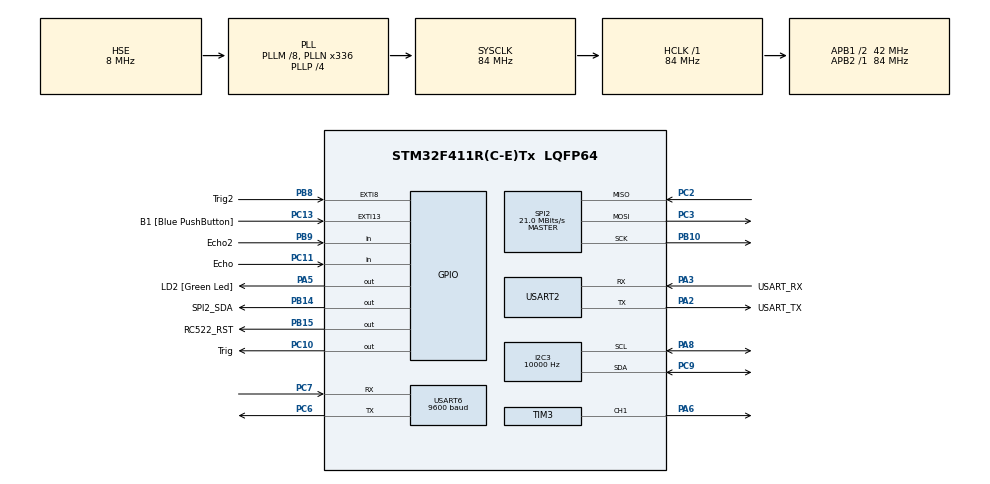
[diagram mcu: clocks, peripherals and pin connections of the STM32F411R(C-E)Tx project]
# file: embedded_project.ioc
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I2C3.ClockSpeed=10000
Mcu.Family=STM32F4
Mcu.Name=STM32F411R(C-E)Tx
Mcu.Package=LQFP64
NVIC.PriorityGroup=NVIC_PRIORITYGROUP_0
NVIC.USART2_IRQn=true\:0\:0\:false\:false\:true\:true\:true\:true
NVIC.USART6_IRQn=true\:0\:0\:false\:false\:true\:true\:true\:true
PA13.GPIO_Label=TMS
PA13.Mode=Serial_Wire
PA13.Signal=SYS_JTMS-SWDIO
PA14.GPIO_Label=TCK
PA14.Mode=Serial_Wire
PA14.Signal=SYS_JTCK-SWCLK
PA2.GPIO_Label=USART_TX
PA2.Mode=Asynchronous
PA2.Signal=USART2_TX
PA3.GPIO_Label=USART_RX
PA3.Mode=Asynchronous
PA3.Signal=USART2_RX
PA5.GPIO_Label=LD2 [Green Led]
PA5.Signal=GPIO_Output
PA6.Signal=S_TIM3_CH1
PA8.Mode=I2C
PA8.Signal=I2C3_SCL
PB10.Mode=Full_Duplex_Master
PB10.Signal=SPI2_SCK
PB14.GPIO_Label=SPI2_SDA
PB14.Signal=GPIO_Output
PB15.GPIO_Label=RC522_RST
PB15.Signal=GPIO_Output
PB3.GPIO_Label=SWO
PB3.Signal=SYS_JTDO-SWO
PB8.GPIO_Label=Trig2
PB8.Signal=GPXTI8
PB9.GPIO_Label=Echo2
PB9.Signal=GPIO_Input
PC10.GPIO_Label=Trig
PC10.Signal=GPIO_Output
PC11.GPIO_Label=Echo
PC11.Signal=GPIO_Input
PC13-ANTI_TAMP.GPIO_Label=B1 [Blue PushButton]
PC13-ANTI_TAMP.GPIO_ModeDefaultEXTI=GPIO_MODE_IT_FALLING
PC13-ANTI_TAMP.Signal=GPXTI13
PC14-OSC32_IN.Signal=RCC_OSC32_IN
PC15-OSC32_OUT.Signal=RCC_OSC32_OUT
PC2.Mode=Full_Duplex_Master
PC2.Signal=SPI2_MISO
PC3.Mode=Full_Duplex_Master
PC3.Signal=SPI2_MOSI
PC6.Mode=Asynchronous
PC6.Signal=USART6_TX
PC7.Mode=Asynchronous
PC7.Signal=USART6_RX
PC9.Mode=I2C
PC9.Signal=I2C3_SDA
PH0\ -\ OSC_IN.Mode=HSE-External-Clock-Source
PH0\ -\ OSC_IN.Signal=RCC_OSC_IN
PH1\ -\ OSC_OUT.Mode=HSE-External-Clock-Source
PH1\ -\ OSC_OUT.Signal=RCC_OSC_OUT
ProjectManager.HeapSize=0x200
ProjectManager.StackSize=0x400
ProjectManager.TargetToolchain=STM32CubeIDE
RCC.48MHZClocksFreq_Value=84000000
RCC.AHBFreq_Value=84000000
RCC.APB1CLKDivider=RCC_HCLK_DIV2
RCC.APB1Freq_Value=42000000
RCC.APB1TimFreq_Value=84000000
RCC.APB2Freq_Value=84000000
RCC.APB2TimFreq_Value=84000000
RCC.CortexFreq_Value=84000000
RCC.FLatency-AdvancedSettings=FLASH_LATENCY_2
RCC.HCLKFreq_Value=84000000
RCC.HSE_VALUE=8000000
RCC.HSI_VALUE=16000000
RCC.LSE_VALUE=32768
RCC.PLLM=8
RCC.PLLN=336
RCC.PLLP=RCC_PLLP_DIV4
RCC.PLLSourceVirtual=RCC_PLLSOURCE_HSE
RCC.SYSCLKFreq_VALUE=84000000
RCC.SYSCLKSource=RCC_SYSCLKSOURCE_PLLCLK
RCC.VCOOutputFreq_Value=336000000
SH.S_TIM3_CH1.0=TIM3_CH1,PWM Generation1 CH1
SPI2.CalculateBaudRate=21.0 MBits/s
SPI2.Direction=SPI_DIRECTION_2LINES
SPI2.Mode=SPI_MODE_MASTER
SPI2.VirtualType=VM_MASTER
TIM3.AutoReloadPreload=TIM_AUTORELOAD_PRELOAD_ENABLE
TIM3.Channel-PWM\ Generation1\ CH1=TIM_CHANNEL_1
TIM3.Period=20000-1
TIM3.Prescaler=84-1
TIM3.Pulse-PWM\ Generation1\ CH1=500-1
USART2.VirtualMode=VM_ASYNC
USART6.BaudRate=9600
USART6.VirtualMode=VM_ASYNC
VP_TIM3_VS_ClockSourceINT.Mode=Internal
board=NUCLEO-F411RE

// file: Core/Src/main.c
/* USER CODE BEGIN Header */
/**
  ******************************************************************************
  * @file           : main.c
  * @brief          : Main program body for IoT Smart Parking System
  ******************************************************************************
  */
/* USER CODE END Header */
#include "main.h"

/* USER CODE BEGIN Includes */
#include <stdio.h>
#include <stdlib.h>
#include <string.h>
#include "clcd.h"
#include "MFRC522.h"
/* USER CODE END Includes */

/* USER CODE BEGIN PTD */
typedef struct {
    uint8_t id[3];
    uint8_t status; // 0: 외부, 1: 주차장 내부
} RFID_Card;
/* USER CODE END PTD */

/* USER CODE BEGIN PD */
#ifdef __GNUC__
#define PUTCHAR_PROTOTYPE int __io_putchar(int ch)
#else
#define PUTCHAR_PROTOTYPE int fputc(int ch, FILE *f)
#endif /* __GNUC__ */

#define ARR_CNT 5
#define CMD_SIZE 50
#define DIST_THRESHOLD 10.0 // 거리 감지 임계값 (cm)
#define HOLD_TIME 1500      // 차단기 열림 유지 시간 (ms)
#define RESET_DELAY 1500    // 카드 재인식 방지 딜레이 (ms)
/* USER CODE END PD */

I2C_HandleTypeDef hi2c3;
SPI_HandleTypeDef hspi2;
TIM_HandleTypeDef htim3;
UART_HandleTypeDef huart2;
UART_HandleTypeDef huart6;

/* USER CODE BEGIN PV */
// 함수 프로토타입 선언
float HCSR04_Read(GPIO_TypeDef* TrigPort, uint16_t TrigPin, GPIO_TypeDef* EchoPort, uint16_t EchoPin);
void Set_Servo_Angle(int angle);
void bluetooth_Event(void);

// 전역 변수
uint32_t last_sensor_tick = 0;
uint32_t object_gone_tick = 0;
uint8_t is_servo_open = 0;
float Distance1 = 0;
float Distance2 = 0;

uint8_t mfrc522_id[5];
uint8_t is_card_present = 0;
uint32_t absent_start_tick = 0;

// UART 수신 버퍼
uint8_t rx2char;
volatile unsigned char rx2Flag = 0;
volatile char rx2Data[CMD_SIZE];

uint8_t btchar;
volatile unsigned char btFlag = 0;
char btData[CMD_SIZE];
char buff[30];

// 등록된 카드 목록
RFID_Card myCards[] = {
    {{0xB3, 0x16, 0x32}, 0}, // 카드 1
    {{0x1D, 0x5F, 0x4A}, 0}, // 카드 2
    {{0x67, 0x17, 0x4B}, 0}  // 카드 3
};
/* USER CODE END PV */

void SystemClock_Config(void);
static void MX_GPIO_Init(void);
static void MX_I2C3_Init(void);
static void MX_SPI2_Init(void);
static void MX_TIM3_Init(void);
static void MX_USART2_UART_Init(void);
static void MX_USART6_UART_Init(void);

/* USER CODE BEGIN 0 */
// printf 리다이렉션
PUTCHAR_PROTOTYPE
{
  HAL_UART_Transmit(&huart2, (uint8_t *)&ch, 1, 0xFFFF);
  return ch;
}

// UART 수신 콜백
void HAL_UART_RxCpltCallback(UART_HandleTypeDef *huart)
{
    if(huart->Instance == USART2) // PC 디버깅용
    {
        static int i2 = 0;
        rx2Data[i2] = rx2char;
        if((rx2Data[i2] == '\r') || (rx2Data[i2] == '\n'))
        {
            rx2Data[i2] = '\0';
            rx2Flag = 1;
            i2 = 0;
        }
        else {
            i2++;
            if (i2 >= CMD_SIZE) i2 = 0; // 버퍼 오버플로우 방지
        }
        HAL_UART_Receive_IT(&huart2, &rx2char, 1);
    }
    else if(huart->Instance == USART6) // 블루투스/서버 통신용
    {
        static int i6 = 0;
        btData[i6] = btchar;
        if((btData[i6] == '\n') || (btData[i6] == '\r'))
        {
            btData[i6] = '\0';
            btFlag = 1;
            i6 = 0;
        }
        else {
            i6++;
            if (i6 >= CMD_SIZE) i6 = 0; // 버퍼 오버플로우 방지
        }
        HAL_UART_Receive_IT(&huart6, &btchar, 1);
    }
}
/* USER CODE END 0 */

int main(void)
{
  /* MCU Configuration--------------------------------------------------------*/
  HAL_Init();
  SystemClock_Config();

  /* Initialize all configured peripherals */
  MX_GPIO_Init();
  MX_I2C3_Init();
  MX_SPI2_Init();
  MX_TIM3_Init();
  MX_USART2_UART_Init();
  MX_USART6_UART_Init();

  /* USER CODE BEGIN 2 */
  // 인터럽트 및 PWM 시작
  HAL_UART_Receive_IT(&huart2, &rx2char, 1);
  HAL_UART_Receive_IT(&huart6, &btchar, 1);
  HAL_TIM_PWM_Start(&htim3, TIM_CHANNEL_1);

  // 장치 초기화
  LCD_init(&hi2c3);
  HAL_GPIO_WritePin(GPIOB, GPIO_PIN_14, GPIO_PIN_SET); // RFID CS Pin (NSS) - High로 초기화
  HAL_Delay(50);
  MFRC522_Init();

  // 초기 화면
  LCD_writeStringXY(0, 0, "IoT Smart Park  ");
  LCD_writeStringXY(1, 0, "Waiting...      ");
  printf("System Started\r\n");

  sprintf(buff, "[SQL]GETDB\n");
  HAL_UART_Transmit(&huart6, (uint8_t *)buff, strlen(buff), 100);
  /* USER CODE END 2 */

  /* Infinite loop */
  /* USER CODE BEGIN WHILE */
  while (1)
  {
      uint32_t current_tick = HAL_GetTick();

      // 1. 초음파 센서 거리 측정 (500ms 주기)
      if (current_tick - last_sensor_tick >= 500) {
    	  Distance1 = HCSR04_Read(Trig_GPIO_Port, Trig_Pin, Echo_GPIO_Port, Echo_Pin);
    	  Distance2 = HCSR04_Read(Trig2_GPIO_Port, Trig2_Pin, Echo2_GPIO_Port, Echo2_Pin);
          last_sensor_tick = current_tick;

          // 차량 출차 감지 (거리가 가까워지면)
          if ((Distance1 > 0 && Distance1 < DIST_THRESHOLD) || (Distance2 > 0 && Distance2 < DIST_THRESHOLD)) {
              if (!is_servo_open) {
                  Set_Servo_Angle(90); // 차단기 열기
                  is_servo_open = 1;
                  LCD_writeStringXY(0, 0, "GoodBye~!       ");
                  LCD_writeStringXY(1, 0, "Drive Safely    ");
              }
              object_gone_tick = current_tick; // 감지되는 동안 시간 갱신
          }
      }

      // 차단기 닫기 로직 (물체가 사라지고 HOLD_TIME 경과 후)
      if (is_servo_open && (current_tick - object_gone_tick >= HOLD_TIME)) {
          Set_Servo_Angle(0); // 차단기 닫기
          is_servo_open = 0;
          LCD_writeStringXY(0, 0, "IoT Smart Park  ");
          LCD_writeStringXY(1, 0, "Waiting...      ");
      }

      // 2. RFID 카드 인식 (200ms 주기 - 반응속도 개선)
      static uint32_t rfid_poll_tick = 0;
      if (current_tick - rfid_poll_tick >= 200) {
          rfid_poll_tick = current_tick;

          uint8_t str[16]; // MFRC522용 임시 버퍼

          // 카드 존재 확인 및 충돌 방지
          if (MFRC522_Request(PICC_REQIDL, str) == MI_OK && MFRC522_Anticoll(mfrc522_id) == MI_OK) {

              if (is_card_present == 0) { // 새로운 카드 태깅 시
                  char* current_action = NULL;

                  // 등록된 카드인지 확인
                  for (int i = 0; i < 3; i++) {
                      if (memcmp(mfrc522_id, myCards[i].id, 3) == 0) {
                          myCards[i].status = !myCards[i].status; // 상태 토글 (입차<->출차)
                          current_action = myCards[i].status ? "ENTER" : "LEAVE";
                          break;
                      }
                  }

                  if (current_action != NULL) {
                      char sql_msg[80];
                      // 프로토콜 포맷: [SQL]ACTION@UID...
                      sprintf(sql_msg, "[SQL]%s@%02X%02X%02X%02X%02X\n",
                              current_action, mfrc522_id[0], mfrc522_id[1], mfrc522_id[2], mfrc522_id[3], mfrc522_id[4]);

                      HAL_UART_Transmit(&huart6, (uint8_t *)sql_msg, strlen(sql_msg), 100);
                      printf("Action Sent: %s\r", sql_msg);

//                      sprintf(buff, "ID: %02X%02X%02X Found", mfrc522_id[0], mfrc522_id[1], mfrc522_id[2]);
//                      LCD_writeStringXY(1, 0, buff);
                  }
                  else {
                      printf("Unknown Card: %02X%02X%02X\n", mfrc522_id[0], mfrc522_id[1], mfrc522_id[2]);
                      LCD_writeStringXY(1, 0, "Unknown Card    ");
                  }
                  is_card_present = 1; // 카드 인식 상태 플래그 설정
                  absent_start_tick = current_tick; // 인식 시점 기록
              }
              else {
                  // 카드가 계속 놓여있는 경우 타이머 갱신
                  absent_start_tick = current_tick;
              }
          }
          else {
              // 카드가 인식되지 않을 때 (떼었을 때)
              if (is_card_present == 1) {
                  // 일정 시간(RESET_DELAY) 동안 카드가 없으면 다시 인식 가능하도록 초기화
                  if (current_tick - absent_start_tick >= RESET_DELAY) {
                      is_card_present = 0;
                      // LCD 원복은 차단기 로직에서 처리하거나 여기서 처리 가능
                  }
              }
          }
      }

      // 3. UART 명령어 처리
      if(rx2Flag) {
          printf("Recv(PC): %s\r\n", rx2Data);
          rx2Flag = 0;
      }

      if(btFlag) {
          bluetooth_Event(); // 블루투스 데이터 파싱
          btFlag = 0;
      }
  }
  /* USER CODE END WHILE */
}

/* USER CODE BEGIN 4 */
// 블루투스 데이터 파싱 함수
void bluetooth_Event()
{
  int i = 0;
  char *pToken;
  char *pArray[ARR_CNT] = {0};
  char recvBuf[CMD_SIZE] = {0};

  strcpy(recvBuf, (char*)btData); // 원본 보존을 위해 복사

  // 구분자 [@] 로 파싱
  pToken = strtok(recvBuf, "[@]");
  while(pToken != NULL)
  {
    pArray[i] = pToken;
    if(++i >= ARR_CNT) break;
    pToken = strtok(NULL, "[@]");
  }

  // 로직: 주차비 정산 완료 메시지 ([CMD]@EXIT@CAR_NUM@FEE)
  if(pArray[1] != NULL && strcmp(pArray[1], "EXIT") == 0)
  {
      printf("Parsing Exit: %s\r\n", btData);
      int fee = atoi(pArray[2]);

      LCD_writeStringXY(0, 0, "Parking Fee     ");
      sprintf(buff, "%5d Won       ", fee);
      LCD_writeStringXY(1, 0, buff);
  }
  // 로직: 서보 모터 강제 제어 ([CMD]@SERVO@ANGLE)
  else if(pArray[1] != NULL && strcmp(pArray[1], "SERVO") == 0)
  {
      int ang = atoi(pArray[2]);
      Set_Servo_Angle(ang);
      printf("Force Servo: %d\r\n", ang);
  }
  if(pArray[1] != NULL && strcmp(pArray[1], "GETDB") == 0) {
	  if (i == 5) {
		  myCards[0].status = atoi(pArray[2]);
		  myCards[1].status = atoi(pArray[3]);
		  myCards[2].status = atoi(pArray[4]);
	  }
  }
}

// 초음파 센서 거리 측정
float HCSR04_Read(GPIO_TypeDef* TrigPort, uint16_t TrigPin, GPIO_TypeDef* EchoPort, uint16_t EchoPin) {
    uint32_t count = 0;

    // Trigger Signal: 10us High Pulse
    HAL_GPIO_WritePin(TrigPort, TrigPin, GPIO_PIN_SET);
    for(int i=0; i<100; i++) __NOP();
    HAL_GPIO_WritePin(TrigPort, TrigPin, GPIO_PIN_RESET);

    // Wait for Echo High
    uint32_t timeout = 10000;
    while (HAL_GPIO_ReadPin(EchoPort, EchoPin) == GPIO_PIN_RESET) {
        if(timeout-- == 0) return 0.0;
    }

    // Measure Pulse Width
    while (HAL_GPIO_ReadPin(EchoPort, EchoPin) == GPIO_PIN_SET) {
        count++;
        if(count > 50000) break;
    }

    return (float)count * 0.017;
}

// 서보 모터 각도 제어 (TIM3 CH1)
void Set_Servo_Angle(int angle) {
    if(angle < 0) angle = 0;
    if(angle > 180) angle = 180;

    uint16_t compare_value = 500 + (angle * 2000 / 180);
//    __HAL_TIM_SET_COMPARE(&htim3, TIM_CHANNEL_1, compare_value);
    TIM3->CCR1 = compare_value - 1;
}
/* USER CODE END 4 */

void SystemClock_Config(void)
{
  RCC_OscInitTypeDef RCC_OscInitStruct = {0};
  RCC_ClkInitTypeDef RCC_ClkInitStruct = {0};

  /** Configure the main internal regulator output voltage
  */
  __HAL_RCC_PWR_CLK_ENABLE();
  __HAL_PWR_VOLTAGESCALING_CONFIG(PWR_REGULATOR_VOLTAGE_SCALE1);

  /** Initializes the RCC Oscillators according to the specified parameters
  * in the RCC_OscInitTypeDef structure.
  */
  RCC_OscInitStruct.OscillatorType = RCC_OSCILLATORTYPE_HSE;
  RCC_OscInitStruct.HSEState = RCC_HSE_BYPASS;
  RCC_OscInitStruct.PLL.PLLState = RCC_PLL_ON;
  RCC_OscInitStruct.PLL.PLLSource = RCC_PLLSOURCE_HSE;
  RCC_OscInitStruct.PLL.PLLM = 8;
  RCC_OscInitStruct.PLL.PLLN = 336;
  RCC_OscInitStruct.PLL.PLLP = RCC_PLLP_DIV4;
  RCC_OscInitStruct.PLL.PLLQ = 4;
  if (HAL_RCC_OscConfig(&RCC_OscInitStruct) != HAL_OK)
  {
    Error_Handler();
  }

  /** Initializes the CPU, AHB and APB buses clocks
  */
  RCC_ClkInitStruct.ClockType = RCC_CLOCKTYPE_HCLK|RCC_CLOCKTYPE_SYSCLK
                              |RCC_CLOCKTYPE_PCLK1|RCC_CLOCKTYPE_PCLK2;
  RCC_ClkInitStruct.SYSCLKSource = RCC_SYSCLKSOURCE_PLLCLK;
  RCC_ClkInitStruct.AHBCLKDivider = RCC_SYSCLK_DIV1;
  RCC_ClkInitStruct.APB1CLKDivider = RCC_HCLK_DIV2;
  RCC_ClkInitStruct.APB2CLKDivider = RCC_HCLK_DIV1;

  if (HAL_RCC_ClockConfig(&RCC_ClkInitStruct, FLASH_LATENCY_2) != HAL_OK)
  {
    Error_Handler();
  }
}

static void MX_I2C3_Init(void)
{
  hi2c3.Instance = I2C3;
  hi2c3.Init.ClockSpeed = 10000;
  hi2c3.Init.DutyCycle = I2C_DUTYCYCLE_2;
  hi2c3.Init.OwnAddress1 = 0;
  hi2c3.Init.AddressingMode = I2C_ADDRESSINGMODE_7BIT;
  hi2c3.Init.DualAddressMode = I2C_DUALADDRESS_DISABLE;
  hi2c3.Init.OwnAddress2 = 0;
  hi2c3.Init.GeneralCallMode = I2C_GENERALCALL_DISABLE;
  hi2c3.Init.NoStretchMode = I2C_NOSTRETCH_DISABLE;
  if (HAL_I2C_Init(&hi2c3) != HAL_OK)
  {
    Error_Handler();
  }
}

static void MX_SPI2_Init(void)
{
  hspi2.Instance = SPI2;
  hspi2.Init.Mode = SPI_MODE_MASTER;
  hspi2.Init.Direction = SPI_DIRECTION_2LINES;
  hspi2.Init.DataSize = SPI_DATASIZE_8BIT;
  hspi2.Init.CLKPolarity = SPI_POLARITY_LOW;
  hspi2.Init.CLKPhase = SPI_PHASE_1EDGE;
  hspi2.Init.NSS = SPI_NSS_SOFT;
  hspi2.Init.BaudRatePrescaler = SPI_BAUDRATEPRESCALER_16;
  hspi2.Init.FirstBit = SPI_FIRSTBIT_MSB;
  hspi2.Init.TIMode = SPI_TIMODE_DISABLE;
  hspi2.Init.CRCCalculation = SPI_CRCCALCULATION_DISABLE;
  hspi2.Init.CRCPolynomial = 10;
  if (HAL_SPI_Init(&hspi2) != HAL_OK)
  {
    Error_Handler();
  }
}

static void MX_TIM3_Init(void)
{
  TIM_ClockConfigTypeDef sClockSourceConfig = {0};
  TIM_MasterConfigTypeDef sMasterConfig = {0};
  TIM_OC_InitTypeDef sConfigOC = {0};

  htim3.Instance = TIM3;
  htim3.Init.Prescaler = 84-1;
  htim3.Init.CounterMode = TIM_COUNTERMODE_UP;
  htim3.Init.Period = 20000-1;
  htim3.Init.ClockDivision = TIM_CLOCKDIVISION_DIV1;
  htim3.Init.AutoReloadPreload = TIM_AUTORELOAD_PRELOAD_ENABLE;
  if (HAL_TIM_Base_Init(&htim3) != HAL_OK)
  {
    Error_Handler();
  }
  sClockSourceConfig.ClockSource = TIM_CLOCKSOURCE_INTERNAL;
  if (HAL_TIM_ConfigClockSource(&htim3, &sClockSourceConfig) != HAL_OK)
  {
    Error_Handler();
  }
  if (HAL_TIM_PWM_Init(&htim3) != HAL_OK)
  {
    Error_Handler();
  }
  sMasterConfig.MasterOutputTrigger = TIM_TRGO_RESET;
  sMasterConfig.MasterSlaveMode = TIM_MASTERSLAVEMODE_DISABLE;
  if (HAL_TIMEx_MasterConfigSynchronization(&htim3, &sMasterConfig) != HAL_OK)
  {
    Error_Handler();
  }
  sConfigOC.OCMode = TIM_OCMODE_PWM1;
  sConfigOC.Pulse = 500-1;
  sConfigOC.OCPolarity = TIM_OCPOLARITY_HIGH;
  sConfigOC.OCFastMode = TIM_OCFAST_DISABLE;
  if (HAL_TIM_PWM_ConfigChannel(&htim3, &sConfigOC, TIM_CHANNEL_1) != HAL_OK)
  {
    Error_Handler();
  }
  HAL_TIM_MspPostInit(&htim3);
}

static void MX_USART2_UART_Init(void)
{
  huart2.Instance = USART2;
  huart2.Init.BaudRate = 115200;
  huart2.Init.WordLength = UART_WORDLENGTH_8B;
  huart2.Init.StopBits = UART_STOPBITS_1;
  huart2.Init.Parity = UART_PARITY_NONE;
  huart2.Init.Mode = UART_MODE_TX_RX;
  huart2.Init.HwFlowCtl = UART_HWCONTROL_NONE;
  huart2.Init.OverSampling = UART_OVERSAMPLING_16;
  if (HAL_UART_Init(&huart2) != HAL_OK)
  {
    Error_Handler();
  }
}

static void MX_USART6_UART_Init(void)
{
  huart6.Instance = USART6;
  huart6.Init.BaudRate = 9600;
  huart6.Init.WordLength = UART_WORDLENGTH_8B;
  huart6.Init.StopBits = UART_STOPBITS_1;
  huart6.Init.Parity = UART_PARITY_NONE;
  huart6.Init.Mode = UART_MODE_TX_RX;
  huart6.Init.HwFlowCtl = UART_HWCONTROL_NONE;
  huart6.Init.OverSampling = UART_OVERSAMPLING_16;
  if (HAL_UART_Init(&huart6) != HAL_OK)
  {
    Error_Handler();
  }
}

static void MX_GPIO_Init(void)
{
  GPIO_InitTypeDef GPIO_InitStruct = {0};

  /* GPIO Ports Clock Enable */
  __HAL_RCC_GPIOC_CLK_ENABLE();
  __HAL_RCC_GPIOH_CLK_ENABLE();
  __HAL_RCC_GPIOA_CLK_ENABLE();
  __HAL_RCC_GPIOB_CLK_ENABLE();

  /*Configure GPIO pin Output Level */
  HAL_GPIO_WritePin(LD2_GPIO_Port, LD2_Pin, GPIO_PIN_RESET);

  /*Configure GPIO pin Output Level */
  HAL_GPIO_WritePin(GPIOB, SPI2_SDA_Pin|RC522_RST_Pin, GPIO_PIN_SET);

  /*Configure GPIO pin Output Level */
  HAL_GPIO_WritePin(Trig_GPIO_Port, Trig_Pin, GPIO_PIN_RESET);

  /*Configure GPIO pin : B1_Pin */
  GPIO_InitStruct.Pin = B1_Pin;
  GPIO_InitStruct.Mode = GPIO_MODE_IT_FALLING;
  GPIO_InitStruct.Pull = GPIO_NOPULL;
  HAL_GPIO_Init(B1_GPIO_Port, &GPIO_InitStruct);

  /*Configure GPIO pin : LD2_Pin */
  GPIO_InitStruct.Pin = LD2_Pin;
  GPIO_InitStruct.Mode = GPIO_MODE_OUTPUT_PP;
  GPIO_InitStruct.Pull = GPIO_NOPULL;
  GPIO_InitStruct.Speed = GPIO_SPEED_FREQ_LOW;
  HAL_GPIO_Init(LD2_GPIO_Port, &GPIO_InitStruct);

  /*Configure GPIO pins : SPI2_SDA_Pin RC522_RST_Pin */
  GPIO_InitStruct.Pin = SPI2_SDA_Pin|RC522_RST_Pin;
  GPIO_InitStruct.Mode = GPIO_MODE_OUTPUT_PP;
  GPIO_InitStruct.Pull = GPIO_NOPULL;
  GPIO_InitStruct.Speed = GPIO_SPEED_FREQ_LOW;
  HAL_GPIO_Init(GPIOB, &GPIO_InitStruct);

  /*Configure GPIO pin : Trig_Pin */
  GPIO_InitStruct.Pin = Trig_Pin;
  GPIO_InitStruct.Mode = GPIO_MODE_OUTPUT_PP;
  GPIO_InitStruct.Pull = GPIO_NOPULL;
  GPIO_InitStruct.Speed = GPIO_SPEED_FREQ_LOW;
  HAL_GPIO_Init(Trig_GPIO_Port, &GPIO_InitStruct);

  /*Configure GPIO pin : Echo_Pin */
  GPIO_InitStruct.Pin = Echo_Pin;
  GPIO_InitStruct.Mode = GPIO_MODE_INPUT;
  GPIO_InitStruct.Pull = GPIO_NOPULL;
  HAL_GPIO_Init(Echo_GPIO_Port, &GPIO_InitStruct);

  /*Configure GPIO pin : Trig2_Pin */
  GPIO_InitStruct.Pin = Trig2_Pin;
  GPIO_InitStruct.Mode = GPIO_MODE_OUTPUT_PP;
  GPIO_InitStruct.Pull = GPIO_NOPULL;
  GPIO_InitStruct.Speed = GPIO_SPEED_FREQ_LOW;
  HAL_GPIO_Init(Trig2_GPIO_Port, &GPIO_InitStruct);

  /*Configure GPIO pin : Echo2_Pin */
  GPIO_InitStruct.Pin = Echo2_Pin;
  GPIO_InitStruct.Mode = GPIO_MODE_INPUT;
  GPIO_InitStruct.Pull = GPIO_NOPULL;
  HAL_GPIO_Init(Echo2_GPIO_Port, &GPIO_InitStruct);
}

void Error_Handler(void)
{
  __disable_irq();
  while (1)
  {
  }
}
